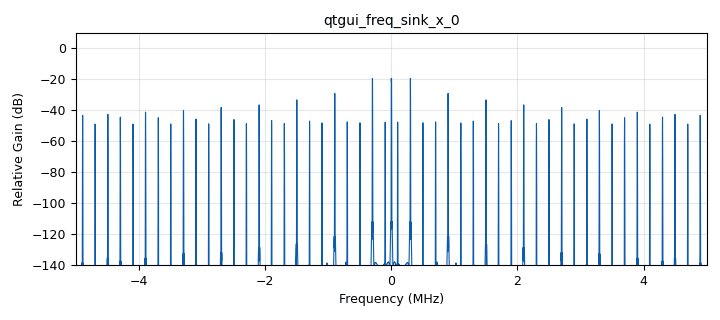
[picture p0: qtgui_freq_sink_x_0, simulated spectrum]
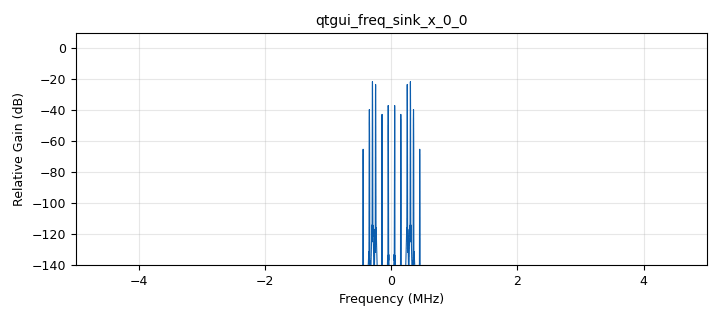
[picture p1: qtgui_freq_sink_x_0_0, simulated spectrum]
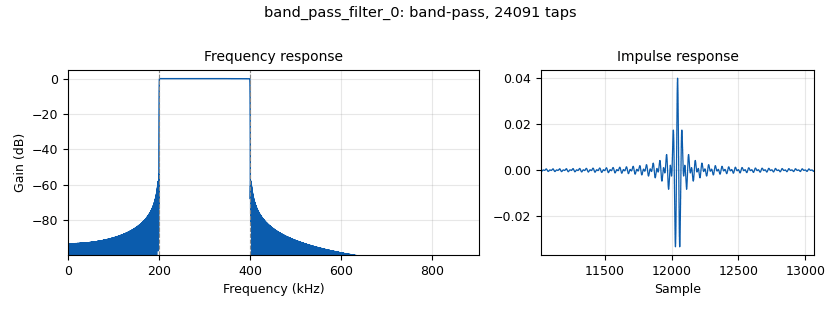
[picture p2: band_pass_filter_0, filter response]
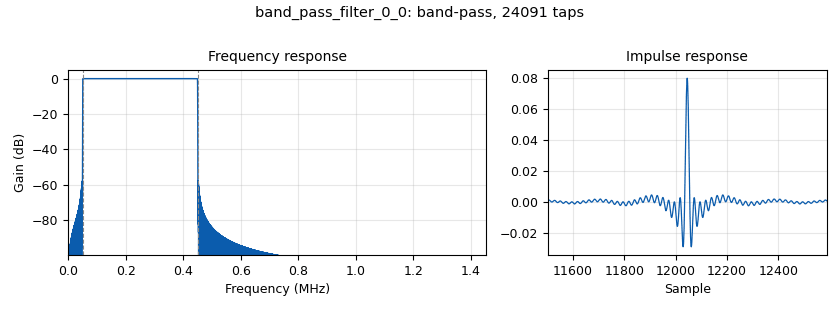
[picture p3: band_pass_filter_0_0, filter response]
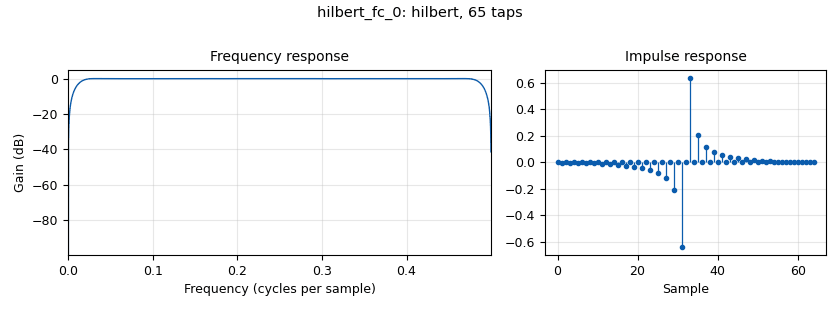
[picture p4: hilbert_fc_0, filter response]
options:
  parameters:
    generate_options: qt_gui
    id: untitled
    output_language: python
    title: Not titled yet
  states: {}

blocks:
- name: samp_rate
  id: variable
  parameters:
    value: 10e6
  states: {}
- name: analog_sig_source_x_0
  id: analog_sig_source_x
  parameters:
    amp: '1'
    freq: 1e3
    offset: '0'
    phase: '0'
    samp_rate: samp_rate
    type: complex
    waveform: analog.GR_SIN_WAVE
  states: {}
- name: analog_sig_source_x_0_0_0
  id: analog_sig_source_x
  parameters:
    amp: '1'
    freq: 300e3
    offset: '0'
    phase: '0'
    samp_rate: samp_rate
    type: complex
    waveform: analog.GR_SQR_WAVE
  states: {}
- name: analog_sig_source_x_0_0_0_0
  id: analog_sig_source_x
  parameters:
    amp: '1'
    freq: 50e3
    offset: '0'
    phase: '0'
    samp_rate: samp_rate
    type: complex
    waveform: analog.GR_SQR_WAVE
  states: {}
- name: band_pass_filter_0
  id: band_pass_filter
  parameters:
    decim: '1'
    gain: '1'
    high_cutoff_freq: 400e3
    low_cutoff_freq: 200e3
    samp_rate: samp_rate
    type: fir_filter_fff
    width: 1e3
    win: firdes.WIN_HAMMING
  states: {}
- name: band_pass_filter_0_0
  id: band_pass_filter
  parameters:
    decim: '1'
    gain: '1'
    high_cutoff_freq: 450e3
    low_cutoff_freq: 50e3
    samp_rate: samp_rate
    type: fir_filter_fff
    width: 1e3
    win: firdes.WIN_HAMMING
  states: {}
- name: blocks_add_xx_0
  id: blocks_add_xx
  parameters:
    type: float
  states: {}
- name: blocks_add_xx_0_0
  id: blocks_add_xx
  parameters:
    type: float
  states: {}
- name: blocks_complex_to_float_0
  id: blocks_complex_to_float
  parameters: {}
  states: {}
- name: blocks_complex_to_imag_0_0_0
  id: blocks_complex_to_imag
  parameters: {}
  states: {}
- name: blocks_complex_to_imag_0_0_0_0
  id: blocks_complex_to_imag
  parameters: {}
  states: {}
- name: blocks_complex_to_imag_0_0_0_0_0
  id: blocks_complex_to_imag
  parameters: {}
  states: {}
- name: blocks_complex_to_real_0
  id: blocks_complex_to_real
  parameters: {}
  states: {}
- name: blocks_complex_to_real_0_0
  id: blocks_complex_to_real
  parameters: {}
  states: {}
- name: blocks_complex_to_real_0_0_0
  id: blocks_complex_to_real
  parameters: {}
  states: {}
- name: blocks_multiply_xx_0
  id: blocks_multiply_xx
  parameters:
    type: float
  states: {}
- name: blocks_multiply_xx_0_0
  id: blocks_multiply_xx
  parameters:
    type: float
  states: {}
- name: blocks_multiply_xx_0_0_0
  id: blocks_multiply_xx
  parameters:
    type: float
  states: {}
- name: blocks_multiply_xx_0_1
  id: blocks_multiply_xx
  parameters:
    type: float
  states: {}
- name: blocks_null_sink_0
  id: blocks_null_sink
  parameters:
    type: float
  states: {}
- name: blocks_throttle_0_0_0
  id: blocks_throttle
  parameters:
    samples_per_second: samp_rate
    type: complex
  states: {}
- name: hilbert_fc_0
  id: hilbert_fc
  parameters:
    num_taps: '65'
    win: firdes.WIN_HAMMING
  states: {}
- name: qtgui_freq_sink_x_0
  id: qtgui_freq_sink_x
  parameters:
    bw: samp_rate
    fc: '0'
    fftsize: '8192'
    grid: 'True'
    type: float
    wintype: firdes.WIN_BLACKMAN_hARRIS
  states: {}
- name: qtgui_freq_sink_x_0_0
  id: qtgui_freq_sink_x
  parameters:
    bw: samp_rate
    fc: '0'
    fftsize: '8192'
    grid: 'True'
    type: float
    wintype: firdes.WIN_BLACKMAN_hARRIS
  states: {}

connections:
- [analog_sig_source_x_0, '0', blocks_throttle_0_0_0, '0']
- [analog_sig_source_x_0_0_0, '0', blocks_complex_to_imag_0_0_0_0, '0']
- [analog_sig_source_x_0_0_0, '0', blocks_complex_to_real_0_0, '0']
- [analog_sig_source_x_0_0_0_0, '0', blocks_complex_to_imag_0_0_0_0_0, '0']
- [analog_sig_source_x_0_0_0_0, '0', blocks_complex_to_real_0_0_0, '0']
- [band_pass_filter_0, '0', blocks_multiply_xx_0_1, '1']
- [band_pass_filter_0, '0', hilbert_fc_0, '0']
- [band_pass_filter_0_0, '0', qtgui_freq_sink_x_0_0, '0']
- [blocks_add_xx_0, '0', band_pass_filter_0, '0']
- [blocks_add_xx_0, '0', qtgui_freq_sink_x_0, '0']
- [blocks_add_xx_0_0, '0', band_pass_filter_0_0, '0']
- [blocks_complex_to_float_0, '0', blocks_null_sink_0, '0']
- [blocks_complex_to_float_0, '1', blocks_multiply_xx_0_0_0, '0']
- [blocks_complex_to_imag_0_0_0, '0', blocks_multiply_xx_0, '1']
- [blocks_complex_to_imag_0_0_0_0, '0', blocks_multiply_xx_0_0, '1']
- [blocks_complex_to_imag_0_0_0_0_0, '0', blocks_multiply_xx_0_0_0, '1']
- [blocks_complex_to_real_0, '0', blocks_multiply_xx_0_0, '0']
- [blocks_complex_to_real_0_0, '0', blocks_multiply_xx_0, '0']
- [blocks_complex_to_real_0_0_0, '0', blocks_multiply_xx_0_1, '0']
- [blocks_multiply_xx_0, '0', blocks_add_xx_0, '0']
- [blocks_multiply_xx_0_0, '0', blocks_add_xx_0, '1']
- [blocks_multiply_xx_0_0_0, '0', blocks_add_xx_0_0, '1']
- [blocks_multiply_xx_0_1, '0', blocks_add_xx_0_0, '0']
- [blocks_throttle_0_0_0, '0', blocks_complex_to_imag_0_0_0, '0']
- [blocks_throttle_0_0_0, '0', blocks_complex_to_real_0, '0']
- [hilbert_fc_0, '0', blocks_complex_to_float_0, '0']

metadata:
  file_format: 1
